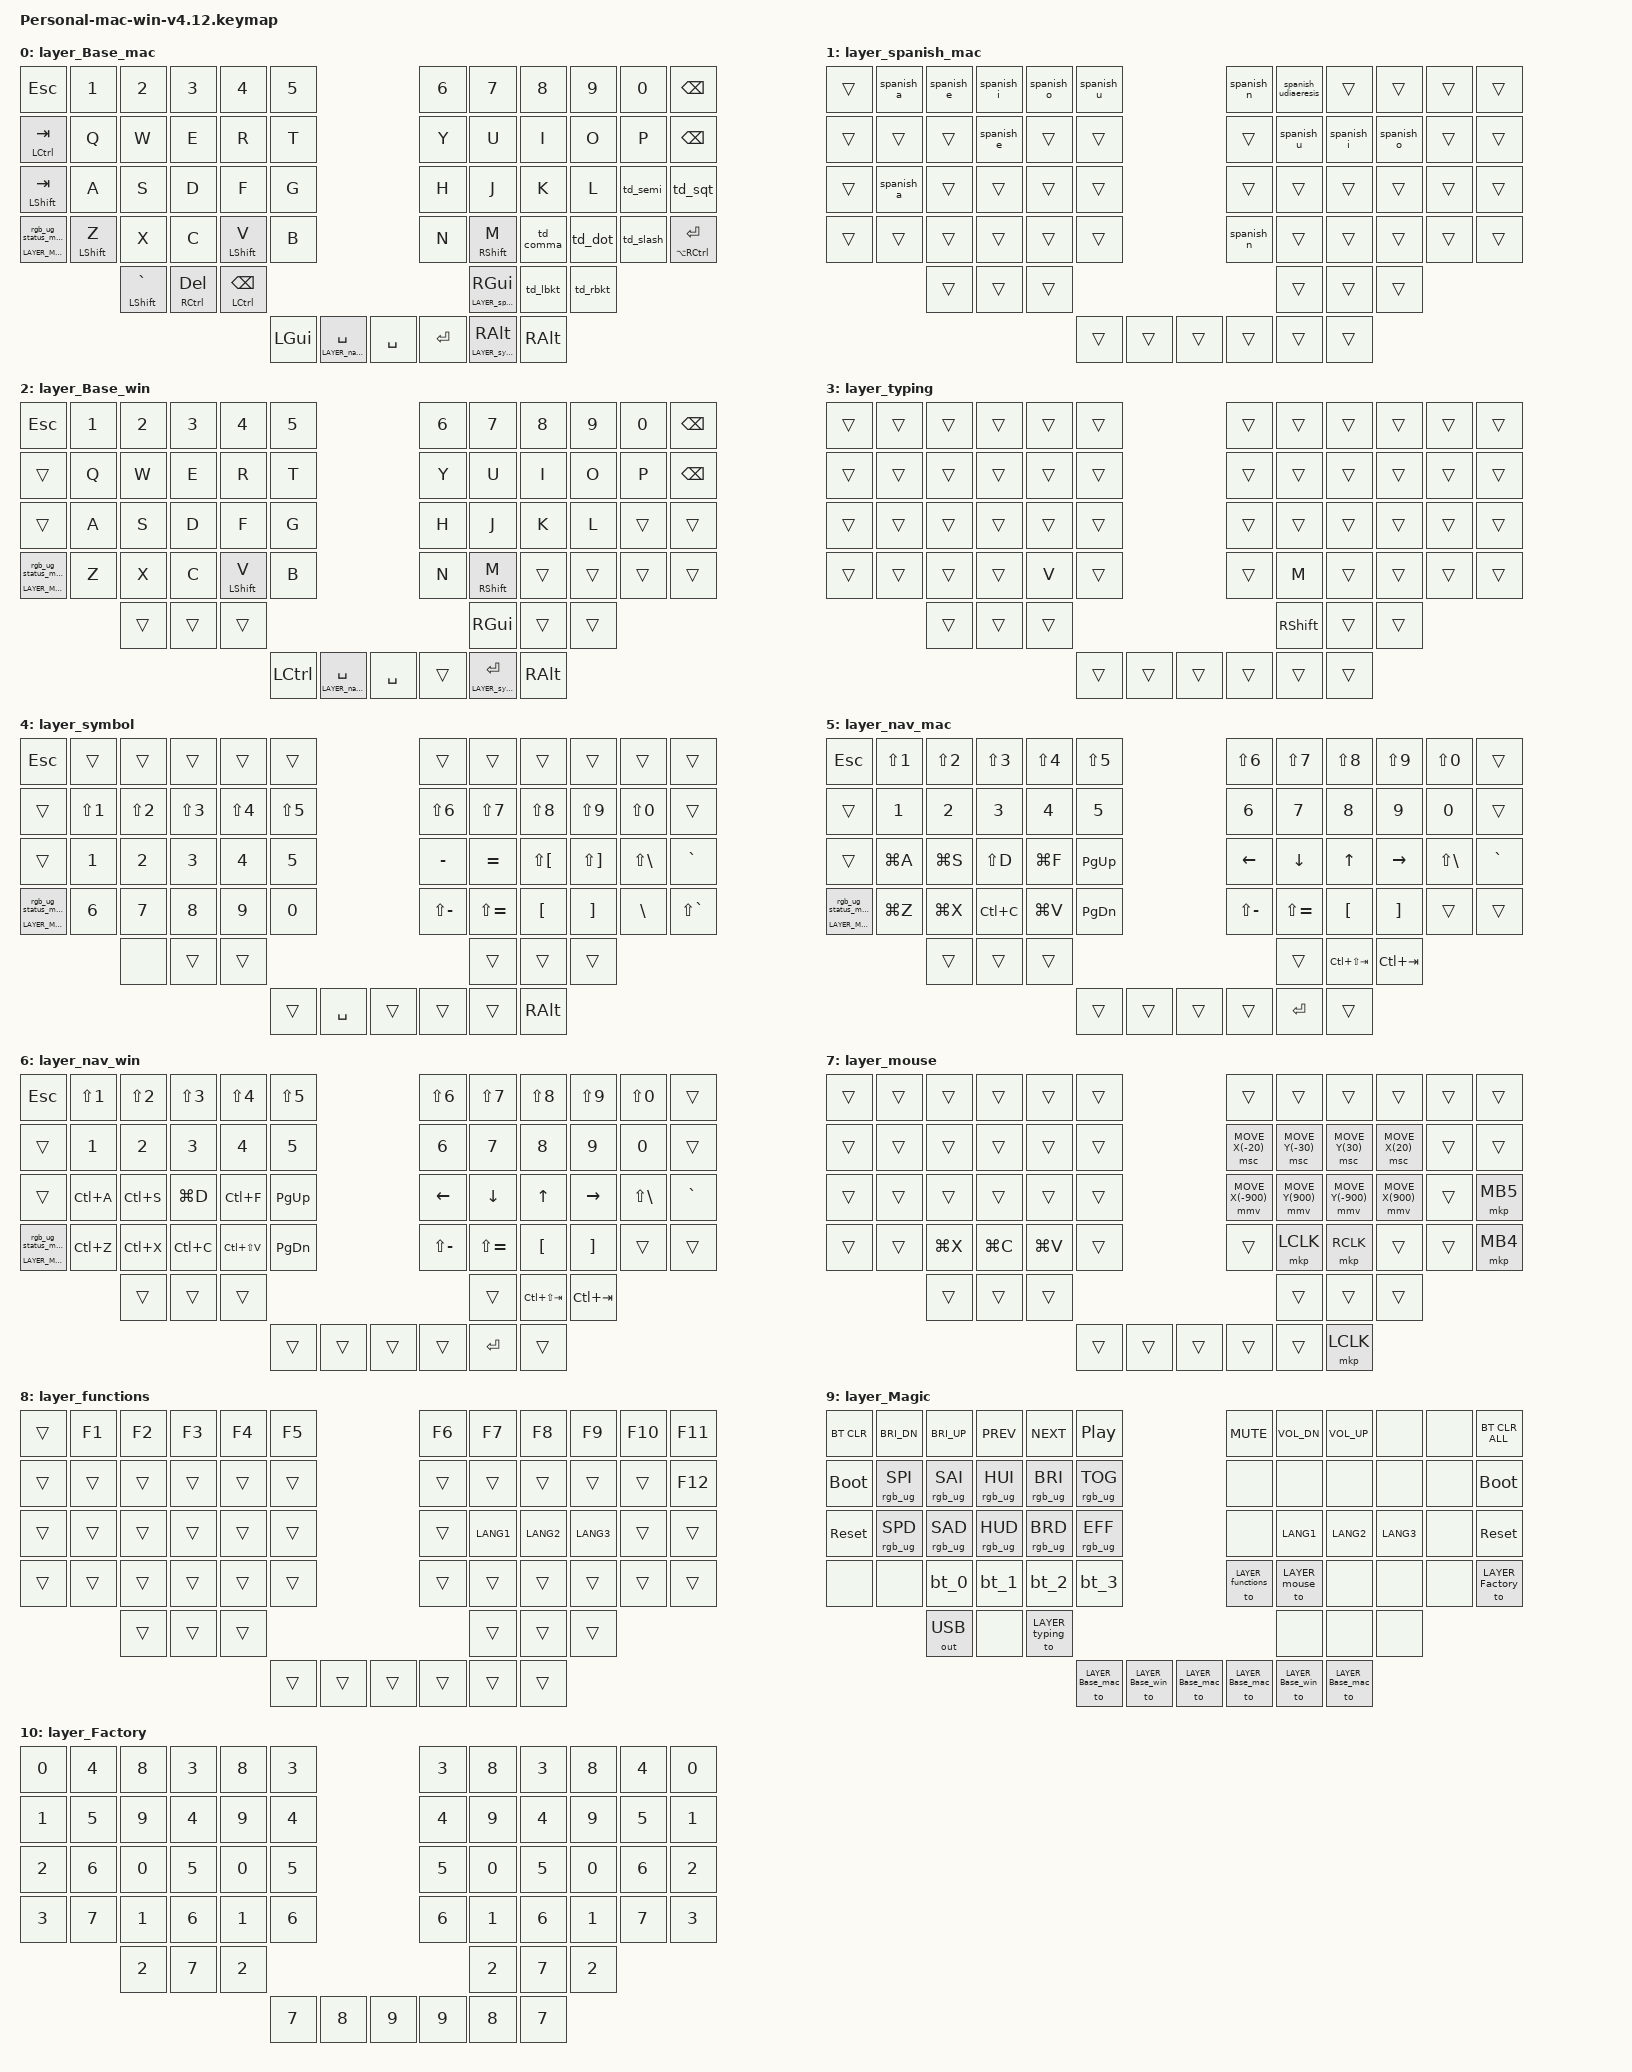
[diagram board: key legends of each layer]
/*
 * Copyright (c) 2020 The ZMK Contributors
 * Copyright (c) 2025 Innaworks Development Limited, trading as MoErgo
 *
 * SPDX-License-Identifier: MIT
 */


/* THIS FILE WAS GENERATED BY GO60 LAYOUT EDITOR
 *
 * This file was generated automatically. You may or may not want to
 * edit it directly.
 */

#include <behaviors.dtsi>

/* Include all behavior includes needed */

#include <dt-bindings/zmk/outputs.h>
#include <dt-bindings/zmk/keys.h>
#include <dt-bindings/zmk/bt.h>
#include <dt-bindings/zmk/rgb.h>

#include <input/processors.dtsi>
#include <dt-bindings/zmk/input_transform.h>
#include <zephyr/dt-bindings/input/input-event-codes.h>

/* On demand includes */
#include <dt-bindings/zmk/input_transform.h>
#include <dt-bindings/zmk/pointing.h>
#include <input/processors.dtsi>

/* Helper Macros, based on https://github.com/urob/zmk-helpers/ */

#pragma once

#define ZMK_HELPER_STRINGIFY(x) #x

// Preprocessor mechanism to overload macros, cf. https://stackoverflow.com/a/27051616/6114651
#define VARGS_(_10, _9, _8, _7, _6, _5, _4, _3, _2, _1, N, ...) N
#define VARGS(...) VARGS_(__VA_ARGS__, 10, 9, 8, 7, 6, 5, 4, 3, 2, 1, 0)
#define CONCAT_(a, b) a##b
#define CONCAT(a, b) CONCAT_(a, b)

#define ZMK_BEHAVIOR_CORE_tap_dance  \
    compatible = "zmk,behavior-tap-dance"; \
    #binding-cells = <0>

#define ZMK_BEHAVIOR(name, type, ...) \
    name: name { \
        ZMK_BEHAVIOR_CORE_ ## type; \
        __VA_ARGS__ \
    };

#define ZMK_TAP_DANCE(name, ...) \
    ZMK_BEHAVIOR(name, tap_dance, __VA_ARGS__)

#define ZMK_TD_LAYER(name, layer) \
    ZMK_TAP_DANCE(name, \
        tapping-term-ms = <200>; \
        bindings = <&mo layer>, <&to layer>; \
)





/* Key positions */

#define POS_LH_C6R1 0
#define POS_LH_C5R1 1
#define POS_LH_C4R1 2
#define POS_LH_C3R1 3
#define POS_LH_C2R1 4
#define POS_LH_C1R1 5
#define POS_RH_C1R1 6
#define POS_RH_C2R1 7
#define POS_RH_C3R1 8
#define POS_RH_C4R1 9
#define POS_RH_C5R1 10
#define POS_RH_C6R1 11
#define POS_LH_C6R2 12
#define POS_LH_C5R2 13
#define POS_LH_C4R2 14
#define POS_LH_C3R2 15
#define POS_LH_C2R2 16
#define POS_LH_C1R2 17
#define POS_RH_C1R2 18
#define POS_RH_C2R2 19
#define POS_RH_C3R2 20
#define POS_RH_C4R2 21
#define POS_RH_C5R2 22
#define POS_RH_C6R2 23
#define POS_LH_C6R3 24
#define POS_LH_C5R3 25
#define POS_LH_C4R3 26
#define POS_LH_C3R3 27
#define POS_LH_C2R3 28
#define POS_LH_C1R3 29
#define POS_RH_C1R3 30
#define POS_RH_C2R3 31
#define POS_RH_C3R3 32
#define POS_RH_C4R3 33
#define POS_RH_C5R3 34
#define POS_RH_C6R3 35
#define POS_LH_C6R4 36
#define POS_LH_C5R4 37
#define POS_LH_C4R4 38
#define POS_LH_C3R4 39
#define POS_LH_C2R4 40
#define POS_LH_C1R4 41
#define POS_RH_C1R4 42
#define POS_RH_C2R4 43
#define POS_RH_C3R4 44
#define POS_RH_C4R4 45
#define POS_RH_C5R4 46
#define POS_RH_C6R4 47
#define POS_LH_C4R5 48
#define POS_LH_C3R5 49
#define POS_LH_C2R5 50
#define POS_RH_C2R5 51
#define POS_RH_C3R5 52
#define POS_RH_C4R5 53
#define POS_LH_T1 54
#define POS_LH_T2 55
#define POS_LH_T3 56
#define POS_RH_T3 57
#define POS_RH_T2 58
#define POS_RH_T1 59


#define LEFT_HAND_KEYS \
  POS_LH_C1R1 POS_LH_C2R1 POS_LH_C3R1 POS_LH_C4R1 POS_LH_C5R1 POS_LH_C6R1 \
  POS_LH_C1R2 POS_LH_C2R2 POS_LH_C3R2 POS_LH_C4R2 POS_LH_C5R2 POS_LH_C6R2 \
  POS_LH_C1R3 POS_LH_C2R3 POS_LH_C3R3 POS_LH_C4R3 POS_LH_C5R3 POS_LH_C6R3 \
  POS_LH_C1R4 POS_LH_C2R4 POS_LH_C3R4 POS_LH_C4R4 POS_LH_C5R4 POS_LH_C6R4 \
              POS_LH_C2R5 POS_LH_C3R5 POS_LH_C4R5

#define RIGHT_HAND_KEYS \
  POS_RH_C1R1 POS_RH_C2R1 POS_RH_C3R1 POS_RH_C4R1 POS_RH_C5R1 POS_RH_C6R1 \
  POS_RH_C1R2 POS_RH_C2R2 POS_RH_C3R2 POS_RH_C4R2 POS_RH_C5R2 POS_RH_C6R2 \
  POS_RH_C1R3 POS_RH_C2R3 POS_RH_C3R3 POS_RH_C4R3 POS_RH_C5R3 POS_RH_C6R3 \
  POS_RH_C1R4 POS_RH_C2R4 POS_RH_C3R4 POS_RH_C4R4 POS_RH_C5R4 POS_RH_C6R4 \
              POS_RH_C2R5 POS_RH_C3R5 POS_RH_C4R5

#define THUMB_KEYS \
  POS_LH_T1 POS_LH_T2 POS_LH_T3 \
  POS_RH_T1 POS_RH_T2 POS_RH_T3

/* Environment and metadata defines */
#define KB_TYPE_GLOVE_80 1
#define KB_TYPE_GO_60    2

#define KB_TYPE          KB_TYPE_GO_60
#define EDITOR_LAYOUT_OS 'M'
#define EDITOR_HOST_OS   'M'

/* Automatically generated layer name defines */
#define LAYER_Base_mac 0
#define LAYER_spanish_mac 1
#define LAYER_Base_win 2
#define LAYER_typing 3
#define LAYER_symbol 4
#define LAYER_nav_mac 5
#define LAYER_nav_win 6
#define LAYER_mouse 7
#define LAYER_functions 8
#define LAYER_Magic 9
#define LAYER_Factory 10

/* To deal with the situation where there is no Lower layer, to keep &lower happy */
#ifndef LAYER_Lower
#define LAYER_Lower 0
#endif

/* Generated input processors */
/ {
    input_processors {
        zip_click_to_right_click_mapper: zip_click_to_right_click_mapper {
            compatible = "zmk,input-processor-code-mapper";
            #input-processor-cells = <0>;
            type = <INPUT_EV_KEY>;
            map = <INPUT_BTN_0 INPUT_BTN_1>;
        };
    };
};

/* Custom Device-tree */
/ {
    macros {
        accent_a_lower: accent_a_lower {
            compatible = "zmk,behavior-macro";
            #binding-cells = <0>;
            wait-ms = <40>;
            tap-ms = <40>;
            bindings = <&kp LA(E)>, <&kp A>;
        };
        accent_a_upper: accent_a_upper {
            compatible = "zmk,behavior-macro";
            #binding-cells = <0>;
            wait-ms = <40>;
            tap-ms = <40>;
            bindings = <&kp LA(E)>, <&kp LS(A)>;
        };
        accent_e_lower: accent_e_lower {
            compatible = "zmk,behavior-macro";
            #binding-cells = <0>;
            wait-ms = <40>;
            tap-ms = <40>;
            bindings = <&kp LA(E)>, <&kp E>;
        };
        accent_e_upper: accent_e_upper {
            compatible = "zmk,behavior-macro";
            #binding-cells = <0>;
            wait-ms = <40>;
            tap-ms = <40>;
            bindings = <&kp LA(E)>, <&kp LS(E)>;
        };
        accent_i_lower: accent_i_lower {
            compatible = "zmk,behavior-macro";
            #binding-cells = <0>;
            wait-ms = <40>;
            tap-ms = <40>;
            bindings = <&kp LA(E)>, <&kp I>;
        };
        accent_i_upper: accent_i_upper {
            compatible = "zmk,behavior-macro";
            #binding-cells = <0>;
            wait-ms = <40>;
            tap-ms = <40>;
            bindings = <&kp LA(E)>, <&kp LS(I)>;
        };
        accent_o_lower: accent_o_lower {
            compatible = "zmk,behavior-macro";
            #binding-cells = <0>;
            wait-ms = <40>;
            tap-ms = <40>;
            bindings = <&kp LA(E)>, <&kp O>;
        };
        accent_o_upper: accent_o_upper {
            compatible = "zmk,behavior-macro";
            #binding-cells = <0>;
            wait-ms = <40>;
            tap-ms = <40>;
            bindings = <&kp LA(E)>, <&kp LS(O)>;
        };
        accent_u_lower: accent_u_lower {
            compatible = "zmk,behavior-macro";
            #binding-cells = <0>;
            wait-ms = <40>;
            tap-ms = <40>;
            bindings = <&kp LA(E)>, <&kp U>;
        };
        accent_u_upper: accent_u_upper {
            compatible = "zmk,behavior-macro";
            #binding-cells = <0>;
            wait-ms = <40>;
            tap-ms = <40>;
            bindings = <&kp LA(E)>, <&kp LS(U)>;
        };
        accent_n_lower: accent_n_lower {
            compatible = "zmk,behavior-macro";
            #binding-cells = <0>;
            wait-ms = <40>;
            tap-ms = <40>;
            bindings = <&kp LA(N)>, <&kp N>;
        };
        accent_n_upper: accent_n_upper {
            compatible = "zmk,behavior-macro";
            #binding-cells = <0>;
            wait-ms = <40>;
            tap-ms = <40>;
            bindings = <&kp LA(N)>, <&kp LS(N)>;
        };
        accent_udiaeresis_lower: accent_udiaeresis_lower {
            compatible = "zmk,behavior-macro";
            #binding-cells = <0>;
            wait-ms = <40>;
            tap-ms = <40>;
            bindings = <&kp LA(U)>, <&kp U>;
        };
        accent_udiaeresis_upper: accent_udiaeresis_upper {
            compatible = "zmk,behavior-macro";
            #binding-cells = <0>;
            wait-ms = <40>;
            tap-ms = <40>;
            bindings = <&kp LA(U)>, <&kp LS(U)>;
        };
    };
};

/* Input Listeners */
&cirque_rh_listener {
    input-processors = <&zip_xy_scaler 2 1>;
    layer_symbol {
        layers = <LAYER_symbol>;
        input-processors = <&zip_xy_scaler 2 1>, <&zip_click_to_right_click_mapper>;
    };
};

&cirque_lh_listener {
    input-processors = <&zip_xy_scaler 1 4>, <&zip_xy_transform INPUT_TRANSFORM_Y_INVERT>, <&zip_xy_to_scroll_mapper>, <&zip_click_to_right_click_mapper>;
    layer_Factory {
        layers = <LAYER_Factory>;
        input-processors = <&zip_xy_scaler 3 1>;
    };
};

/* System behavior and macros */
/ {
    behaviors {
        ZMK_TD_LAYER(lower, LAYER_Lower)
    };
};

/ {
    macros {
        rgb_ug_status_macro: rgb_ug_status_macro {
            label = "RGB_UG_STATUS";
            compatible = "zmk,behavior-macro";
            #binding-cells = <0>;
            bindings
                = <&rgb_ug RGB_STATUS>;
        };
    };
};

/ {
#ifdef BT_DISC_CMD
    behaviors {
        bt_0: bt_0 {
            compatible = "zmk,behavior-tap-dance";
            label = "BT_0";
            #binding-cells = <0>;
            tapping-term-ms = <200>;
            bindings = <&bt_select_0>, <&bt BT_DISC 0>;
        };
        bt_1: bt_1 {
            compatible = "zmk,behavior-tap-dance";
            label = "BT_1";
            #binding-cells = <0>;
            tapping-term-ms = <200>;
            bindings = <&bt_select_1>, <&bt BT_DISC 1>;
        };
        bt_2: bt_2 {
            compatible = "zmk,behavior-tap-dance";
            label = "BT_2";
            #binding-cells = <0>;
            tapping-term-ms = <200>;
            bindings = <&bt_select_2>, <&bt BT_DISC 2>;
        };
        bt_3: bt_3 {
            compatible = "zmk,behavior-tap-dance";
            label = "BT_3";
            #binding-cells = <0>;
            tapping-term-ms = <200>;
            bindings = <&bt_select_3>, <&bt BT_DISC 3>;
        };
    };
    macros {
        bt_select_0: bt_select_0 {
            label = "BT_SELECT_0";
            compatible = "zmk,behavior-macro";
            #binding-cells = <0>;
            bindings
                = <&out OUT_BLE>,
                  <&bt BT_SEL 0>;
        };
        bt_select_1: bt_select_1 {
            label = "BT_SELECT_1";
            compatible = "zmk,behavior-macro";
            #binding-cells = <0>;
            bindings
                = <&out OUT_BLE>,
                  <&bt BT_SEL 1>;
        };
        bt_select_2: bt_select_2 {
            label = "BT_SELECT_2";
            compatible = "zmk,behavior-macro";
            #binding-cells = <0>;
            bindings
                = <&out OUT_BLE>,
                  <&bt BT_SEL 2>;
        };
        bt_select_3: bt_select_3 {
            label = "BT_SELECT_3";
            compatible = "zmk,behavior-macro";
            #binding-cells = <0>;
            bindings
                = <&out OUT_BLE>,
                  <&bt BT_SEL 3>;
        };
    };
#else
    macros {
        bt_0: bt_0 {
            label = "BT_0";
            compatible = "zmk,behavior-macro";
            #binding-cells = <0>;
            bindings
                = <&out OUT_BLE>,
                  <&bt BT_SEL 0>;
        };
        bt_1: bt_1 {
            label = "BT_1";
            compatible = "zmk,behavior-macro";
            #binding-cells = <0>;
            bindings
                = <&out OUT_BLE>,
                  <&bt BT_SEL 1>;
        };
        bt_2: bt_2 {
            label = "BT_2";
            compatible = "zmk,behavior-macro";
            #binding-cells = <0>;
            bindings
                = <&out OUT_BLE>,
                  <&bt BT_SEL 2>;
        };
        bt_3: bt_3 {
            label = "BT_3";
            compatible = "zmk,behavior-macro";
            #binding-cells = <0>;
            bindings
                = <&out OUT_BLE>,
                  <&bt BT_SEL 3>;
        };
    };
#endif
};

/ {
    behaviors {
        magic: magic {
            compatible = "zmk,behavior-hold-tap";
            label = "MAGIC_HOLD_TAP";
            #binding-cells = <2>;
            flavor = "tap-preferred";
            tapping-term-ms = <200>;
            bindings = <&mo>, <&rgb_ug_status_macro>;
        };
    };
};


/* Custom Defined Behaviors */
/ {
behaviors {
        td_semi: tap_dance_semi {
            compatible = "zmk,behavior-tap-dance";
            #binding-cells = <0>;
            tapping-term-ms = <200>;
            bindings = <&kp SEMI>, <&kp COLON>;
        };
        td_sqt: tap_dance_sqt {
            compatible = "zmk,behavior-tap-dance";
            #binding-cells = <0>;
            tapping-term-ms = <200>;
            bindings = <&kp SQT>, <&kp DQT>;
        };
        td_dot: tap_dance_dot {
            compatible = "zmk,behavior-tap-dance";
            #binding-cells = <0>;
            tapping-term-ms = <200>;
            bindings = <&kp DOT>, <&kp GT>;
        };
        td_comma: tap_dance_comma {
            compatible = "zmk,behavior-tap-dance";
            #binding-cells = <0>;
            tapping-term-ms = <200>;
            bindings = <&kp COMMA>, <&kp LT>;
        };
        td_slash: tap_dance_slash {
            compatible = "zmk,behavior-tap-dance";
            #binding-cells = <0>;
            tapping-term-ms = <200>;
            bindings = <&kp FSLH>, <&kp QMARK>;
        };
        td_lbkt: tap_dance_lbkt {
            compatible = "zmk,behavior-tap-dance";
            #binding-cells = <0>;
            tapping-term-ms = <200>;
            bindings = <&kp LBRC>, <&kp LBKT>;
        };
        td_rbkt: tap_dance_rbkt {
            compatible = "zmk,behavior-tap-dance";
            #binding-cells = <0>;
            tapping-term-ms = <200>;
            bindings = <&kp RBRC>, <&kp RBKT>;
        };
        spanish_a: spanish_a {
            compatible = "zmk,behavior-mod-morph";
            #binding-cells = <0>;
            bindings = <&accent_a_lower>, <&accent_a_upper>;
            mods = <(MOD_LSFT|MOD_RSFT)>;
        };
        spanish_e: spanish_e {
            compatible = "zmk,behavior-mod-morph";
            #binding-cells = <0>;
            bindings = <&accent_e_lower>, <&accent_e_upper>;
            mods = <(MOD_LSFT|MOD_RSFT)>;
        };
        spanish_i: spanish_i {
            compatible = "zmk,behavior-mod-morph";
            #binding-cells = <0>;
            bindings = <&accent_i_lower>, <&accent_i_upper>;
            mods = <(MOD_LSFT|MOD_RSFT)>;
        };
        spanish_o: spanish_o {
            compatible = "zmk,behavior-mod-morph";
            #binding-cells = <0>;
            bindings = <&accent_o_lower>, <&accent_o_upper>;
            mods = <(MOD_LSFT|MOD_RSFT)>;
        };
        spanish_u: spanish_u {
            compatible = "zmk,behavior-mod-morph";
            #binding-cells = <0>;
            bindings = <&accent_u_lower>, <&accent_u_upper>;
            mods = <(MOD_LSFT|MOD_RSFT)>;
        };
        spanish_n: spanish_n {
            compatible = "zmk,behavior-mod-morph";
            #binding-cells = <0>;
            bindings = <&accent_n_lower>, <&accent_n_upper>;
            mods = <(MOD_LSFT|MOD_RSFT)>;
        };
        spanish_udiaeresis: spanish_udiaeresis {
            compatible = "zmk,behavior-mod-morph";
            #binding-cells = <0>;
            bindings = <&accent_udiaeresis_lower>, <&accent_udiaeresis_upper>;
            mods = <(MOD_LSFT|MOD_RSFT)>;
        };
    };
};

/* Automatically generated macro definitions */
/ {
    macros {

    };
};

/* Automatically generated behavior definitions */
/ {
    behaviors {


        index_tab: index_tab {
            compatible = "zmk,behavior-hold-tap";
            #binding-cells = <2>;
            tapping-term-ms = <210>;
            bindings = <&kp>, <&kp>;
            flavor = "tap-preferred";
            quick-tap-ms = <260>;
            require-prior-idle-ms = <150>;
        };

        // thumb layers change
        thumb_layer_enter: thumb_layer_enter {
            compatible = "zmk,behavior-hold-tap";
            #binding-cells = <2>;
            tapping-term-ms = <200>;
            bindings = <&mo>, <&kp>;
            flavor = "tap-preferred";
            quick-tap-ms = <300>;
        };

        // thumb layers change
        thumb_layer_space: thumb_layer_space {
            compatible = "zmk,behavior-hold-tap";
            #binding-cells = <2>;
            tapping-term-ms = <210>;
            bindings = <&mo>, <&kp>;
            flavor = "tap-preferred";
            quick-tap-ms = <250>;
            require-prior-idle-ms = <130>;
            retro-tap;
        };

        // for hold over tab
        index_control: index_control {
            compatible = "zmk,behavior-hold-tap";
            #binding-cells = <2>;
            tapping-term-ms = <200>;
            bindings = <&kp>, <&kp>;
            flavor = "balanced";
            quick-tap-ms = <220>;
        };
    };
};

/* Automatically generated combos definitions */
/ {
    combos {
        compatible = "zmk,combos";

        // f1
        combo_F1 {
            key-positions = <POS_LH_C5R1 POS_LH_C5R2>;
            bindings = <&kp F1>;
            layers = <LAYER_symbol>;
        };

        // control_tab
        combo_control_tab {
            key-positions = <POS_RH_C4R5 POS_LH_T1>;
            bindings = <&kp LC(TAB)>;
            layers = <LAYER_Base_mac LAYER_Base_win LAYER_typing LAYER_symbol LAYER_nav_mac LAYER_nav_win>;
            slow-release;
        };

        combo_control_shift_tab {
            key-positions = <POS_RH_C3R5 POS_LH_T1>;
            bindings = <&kp LC(LS(TAB))>;
            layers = <LAYER_Base_mac LAYER_Base_win LAYER_typing LAYER_symbol LAYER_nav_mac LAYER_nav_win>;
            slow-release;
        };

        combo_comand_contro_option {
            key-positions = <POS_RH_C2R5 POS_LH_T1>;
            bindings = <&kp LA(LC(LGUI))>;
            slow-release;
        };

        // Screenshot
        combo_Screenshot {
            key-positions = <POS_LH_C2R1 POS_LH_C2R2>;
            bindings = <&kp LC(LS(LG(N4)))>;
            layers = <LAYER_symbol LAYER_nav_mac LAYER_nav_win>;
        };

        // control_tab
        combo_control_tab_letf {
            key-positions = <POS_RH_C4R5 POS_RH_C3R5>;
            bindings = <&kp LC(TAB)>;
            layers = <LAYER_Base_mac LAYER_Base_win LAYER_typing LAYER_symbol LAYER_nav_mac LAYER_nav_win>;
            slow-release;
        };

        combo_caps_lock {
            key-positions = <POS_LH_C2R5 POS_RH_C2R5>;
            bindings = <&kp CAPS>;
            layers = <LAYER_Base_mac LAYER_Base_win>;
        };
    };
};

/* Automatically generated keymap */
/ {
    keymap {
        compatible = "zmk,keymap";


        layer_Base_mac {
            bindings = <
                  &kp ESC              &kp N1                  &kp N2                &kp N3                     &kp N4  &kp N5                                                                                                                        &kp N6                                     &kp N7     &kp N8    &kp N9     &kp N0                      &kp BSPC
     &index_tab LCTRL TAB               &kp Q                   &kp W                 &kp E                      &kp R   &kp T                                                                                                                         &kp Y                                      &kp U      &kp I     &kp O      &kp P                      &kp BSPC
 &index_control LSHFT TAB               &kp A                   &kp S                 &kp D                      &kp F   &kp G                                                                                                                         &kp H                                      &kp J      &kp K     &kp L   &td_semi                       &td_sqt
     &magic LAYER_Magic 0  &index_tab LSHFT Z                   &kp X                 &kp C         &index_tab LSHFT V   &kp B                                                                                                                         &kp N                         &index_tab RSHFT M  &td_comma   &td_dot  &td_slash  &index_control LA(RCTRL) RET
                                               &index_tab LSHFT GRAVE  &index_tab RCTRL DEL  &index_control LCTRL BSPC                                                                                                                                        &thumb_layer_enter LAYER_spanish_mac RGUI   &td_lbkt  &td_rbkt
                                                                                                                                &kp LGUI  &thumb_layer_space LAYER_nav_mac SPACE  &kp SPACE  &kp RET  &thumb_layer_enter LAYER_symbol RALT  &kp RALT
            >;
        };

        layer_spanish_mac {
            bindings = <
 &trans  &spanish_a  &spanish_e  &spanish_i  &spanish_o  &spanish_u                                                  &spanish_n  &spanish_udiaeresis      &trans      &trans  &trans  &trans
 &trans      &trans      &trans  &spanish_e      &trans      &trans                                                      &trans           &spanish_u  &spanish_i  &spanish_o  &trans  &trans
 &trans  &spanish_a      &trans      &trans      &trans      &trans                                                      &trans               &trans      &trans      &trans  &trans  &trans
 &trans      &trans      &trans      &trans      &trans      &trans                                                  &spanish_n               &trans      &trans      &trans  &trans  &trans
                         &trans      &trans      &trans                                                                                       &trans      &trans      &trans
                                                                     &trans  &trans  &trans  &trans  &trans  &trans
            >;
        };

        layer_Base_win {
            bindings = <
              &kp ESC  &kp N1  &kp N2  &kp N3              &kp N4  &kp N5                                                                                                                       &kp N6              &kp N7  &kp N8  &kp N9  &kp N0  &kp BSPC
               &trans   &kp Q   &kp W   &kp E               &kp R   &kp T                                                                                                                        &kp Y               &kp U   &kp I   &kp O   &kp P  &kp BSPC
               &trans   &kp A   &kp S   &kp D               &kp F   &kp G                                                                                                                        &kp H               &kp J   &kp K   &kp L  &trans    &trans
 &magic LAYER_Magic 0   &kp Z   &kp X   &kp C  &index_tab LSHFT V   &kp B                                                                                                                        &kp N  &index_tab RSHFT M  &trans  &trans  &trans    &trans
                               &trans  &trans              &trans                                                                                                                                                 &kp RGUI  &trans  &trans
                                                                           &kp LCTRL  &thumb_layer_space LAYER_nav_win SPACE  &kp SPACE  &trans  &thumb_layer_enter LAYER_symbol RET  &kp RALT
            >;
        };

        layer_typing {
            bindings = <
 &trans  &trans  &trans  &trans  &trans  &trans                                                  &trans     &trans  &trans  &trans  &trans  &trans
 &trans  &trans  &trans  &trans  &trans  &trans                                                  &trans     &trans  &trans  &trans  &trans  &trans
 &trans  &trans  &trans  &trans  &trans  &trans                                                  &trans     &trans  &trans  &trans  &trans  &trans
 &trans  &trans  &trans  &trans   &kp V  &trans                                                  &trans      &kp M  &trans  &trans  &trans  &trans
                 &trans  &trans  &trans                                                                  &kp RSHFT  &trans  &trans
                                                 &trans  &trans  &trans  &trans  &trans  &trans
            >;
        };

        layer_symbol {
            bindings = <
              &kp ESC      &trans      &trans      &trans      &trans      &trans                                                              &trans         &trans        &trans        &trans        &trans         &trans
               &trans  &kp LS(N1)  &kp LS(N2)  &kp LS(N3)  &kp LS(N4)  &kp LS(N5)                                                          &kp LS(N6)     &kp LS(N7)    &kp LS(N8)    &kp LS(N9)    &kp LS(N0)         &trans
               &trans      &kp N1      &kp N2      &kp N3      &kp N4      &kp N5                                                           &kp MINUS      &kp EQUAL  &kp LS(LBKT)  &kp LS(RBKT)  &kp LS(BSLH)      &kp GRAVE
 &magic LAYER_Magic 0      &kp N6      &kp N7      &kp N8      &kp N9      &kp N0                                                       &kp LS(MINUS)  &kp LS(EQUAL)      &kp LBKT      &kp RBKT      &kp BSLH  &kp LS(GRAVE)
                                        &none      &trans      &trans                                                                                         &trans        &trans        &trans
                                                                                   &trans  &kp SPACE  &trans  &trans  &trans  &kp RALT
            >;
        };

        layer_nav_mac {
            bindings = <
              &kp ESC  &kp LS(N1)  &kp LS(N2)  &kp LS(N3)  &kp LS(N4)  &kp LS(N5)                                                      &kp LS(N6)     &kp LS(N7)       &kp LS(N8)   &kp LS(N9)    &kp LS(N0)     &trans
               &trans      &kp N1      &kp N2      &kp N3      &kp N4      &kp N5                                                          &kp N6         &kp N7           &kp N8       &kp N9        &kp N0     &trans
               &trans   &kp LG(A)   &kp LG(S)   &kp LS(D)   &kp LG(F)   &kp PG_UP                                                        &kp LEFT       &kp DOWN           &kp UP    &kp RIGHT  &kp LS(BSLH)  &kp GRAVE
 &magic LAYER_Magic 0   &kp LG(Z)   &kp LG(X)   &kp LC(C)   &kp LG(V)   &kp PG_DN                                                   &kp LS(MINUS)  &kp LS(EQUAL)         &kp LBKT     &kp RBKT        &trans     &trans
                                       &trans      &trans      &trans                                                                                     &trans  &kp LC(LS(TAB))  &kp LC(TAB)
                                                                                   &trans  &trans  &trans  &trans  &kp RET  &trans
            >;
        };

        layer_nav_win {
            bindings = <
              &kp ESC  &kp LS(N1)  &kp LS(N2)  &kp LS(N3)     &kp LS(N4)  &kp LS(N5)                                                      &kp LS(N6)     &kp LS(N7)       &kp LS(N8)   &kp LS(N9)    &kp LS(N0)     &trans
               &trans      &kp N1      &kp N2      &kp N3         &kp N4      &kp N5                                                          &kp N6         &kp N7           &kp N8       &kp N9        &kp N0     &trans
               &trans   &kp LC(A)   &kp LC(S)   &kp LG(D)      &kp LC(F)   &kp PG_UP                                                        &kp LEFT       &kp DOWN           &kp UP    &kp RIGHT  &kp LS(BSLH)  &kp GRAVE
 &magic LAYER_Magic 0   &kp LC(Z)   &kp LC(X)   &kp LC(C)  &kp LC(LS(V))   &kp PG_DN                                                   &kp LS(MINUS)  &kp LS(EQUAL)         &kp LBKT     &kp RBKT        &trans     &trans
                                       &trans      &trans         &trans                                                                                     &trans  &kp LC(LS(TAB))  &kp LC(TAB)
                                                                                      &trans  &trans  &trans  &trans  &kp RET  &trans
            >;
        };

        layer_mouse {
            bindings = <
 &trans  &trans     &trans     &trans     &trans  &trans                                                                &trans            &trans             &trans            &trans  &trans    &trans
 &trans  &trans     &trans     &trans     &trans  &trans                                                      &msc MOVE_X(-20)  &msc MOVE_Y(-30)    &msc MOVE_Y(30)   &msc MOVE_X(20)  &trans    &trans
 &trans  &trans     &trans     &trans     &trans  &trans                                                     &mmv MOVE_X(-900)  &mmv MOVE_Y(900)  &mmv MOVE_Y(-900)  &mmv MOVE_X(900)  &trans  &mkp MB5
 &trans  &trans  &kp LG(X)  &kp LG(C)  &kp LG(V)  &trans                                                                &trans         &mkp LCLK          &mkp RCLK            &trans  &trans  &mkp MB4
                    &trans     &trans     &trans                                                                                          &trans             &trans            &trans
                                                          &trans  &trans  &trans  &trans  &trans  &mkp LCLK
            >;
        };

        layer_functions {
            bindings = <
 &trans  &kp F1  &kp F2  &kp F3  &kp F4  &kp F5                                                  &kp F6     &kp F7     &kp F8     &kp F9  &kp F10  &kp F11
 &trans  &trans  &trans  &trans  &trans  &trans                                                  &trans     &trans     &trans     &trans   &trans  &kp F12
 &trans  &trans  &trans  &trans  &trans  &trans                                                  &trans  &kp LANG1  &kp LANG2  &kp LANG3   &trans   &trans
 &trans  &trans  &trans  &trans  &trans  &trans                                                  &trans     &trans     &trans     &trans   &trans   &trans
                 &trans  &trans  &trans                                                                     &trans     &trans     &trans
                                                 &trans  &trans  &trans  &trans  &trans  &trans
            >;
        };

        layer_Magic {
            bindings = <
  &bt BT_CLR     &kp C_BRI_DN     &kp C_BRI_UP       &kp C_PREV        &kp C_NEXT         &kp C_PP                                                                                                                                   &kp C_MUTE     &kp C_VOL_DN  &kp C_VOL_UP      &none   &none     &bt BT_CLR_ALL
 &bootloader  &rgb_ug RGB_SPI  &rgb_ug RGB_SAI  &rgb_ug RGB_HUI   &rgb_ug RGB_BRI  &rgb_ug RGB_TOG                                                                                                                                        &none            &none         &none      &none   &none        &bootloader
  &sys_reset  &rgb_ug RGB_SPD  &rgb_ug RGB_SAD  &rgb_ug RGB_HUD   &rgb_ug RGB_BRD  &rgb_ug RGB_EFF                                                                                                                                        &none        &kp LANG1     &kp LANG2  &kp LANG3   &none         &sys_reset
       &none            &none            &bt_0            &bt_1             &bt_2            &bt_3                                                                                                                          &to LAYER_functions  &to LAYER_mouse         &none      &none   &none  &to LAYER_Factory
                                  &out OUT_USB            &none  &to LAYER_typing                                                                                                                                                                          &none         &none      &none
                                                                                                    &to LAYER_Base_mac  &to LAYER_Base_win  &to LAYER_Base_mac  &to LAYER_Base_mac  &to LAYER_Base_win  &to LAYER_Base_mac
            >;
        };

        layer_Factory {
            bindings = <
 &kp N0  &kp N4  &kp N8  &kp N3  &kp N8  &kp N3                                                  &kp N3  &kp N8  &kp N3  &kp N8  &kp N4  &kp N0
 &kp N1  &kp N5  &kp N9  &kp N4  &kp N9  &kp N4                                                  &kp N4  &kp N9  &kp N4  &kp N9  &kp N5  &kp N1
 &kp N2  &kp N6  &kp N0  &kp N5  &kp N0  &kp N5                                                  &kp N5  &kp N0  &kp N5  &kp N0  &kp N6  &kp N2
 &kp N3  &kp N7  &kp N1  &kp N6  &kp N1  &kp N6                                                  &kp N6  &kp N1  &kp N6  &kp N1  &kp N7  &kp N3
                 &kp N2  &kp N7  &kp N2                                                                  &kp N2  &kp N7  &kp N2
                                                 &kp N7  &kp N8  &kp N9  &kp N9  &kp N8  &kp N7
            >;
        };

    };
};
